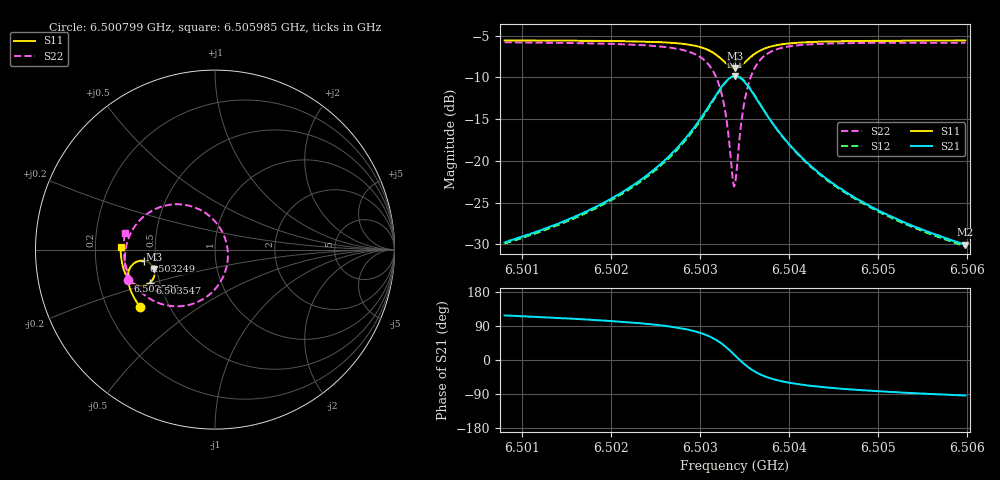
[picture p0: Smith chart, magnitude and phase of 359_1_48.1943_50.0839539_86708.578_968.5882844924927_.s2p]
#  HZ  S  RI  R  50.00
! Rohde & Schwarz Vector Network Analyzer
! Rohde-Schwarz,ZNB20-2Port,1311601062101988,3.16
! Created: UTC 3/20/2024, 11:52:07 AM
! freq[Hz]  re:S11  im:S11  re:S21  im:S21  re:S12  im:S12  re:S22  im:S22
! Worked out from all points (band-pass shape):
!   401 points, 6.500799 GHz to 6.505985 GHz, reference 50 ohm
!   highest |S21| = -9.86 dB at 6.503392 GHz (marker M1); lowest = -30.1 dB at 6.505985 GHz (marker M2)
!   |S21| within 3 dB of the highest: 6.503132 GHz to 6.503651 GHz (518.6 kHz wide, 0.00797 % of centre)
!   lowest |S11| = -8.9 dB at 6.503392 GHz (marker M3), VSWR 2.11, Z = 24.1 - j6.11 ohm
!   |S11| at or under -10 dB: nowhere
!   |S22| runs from -23.1 to -5.8 dB; largest |S21 - S12| = 0.011
!   S11 on the Smith chart (normalised r, x): 6.500799 GHz: 0.34, -0.30; 6.502536 GHz: 0.33, -0.15; 6.503249 GHz: 0.43, -0.06; 6.503547 GHz: 0.44, -0.20; 6.505985 GHz: 0.31, +0.01
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6.5007989e9  -0.4193 -0.3183  -0.015 0.0288  -0.0134 0.0289  -0.4855 -0.1678
6.5016675e9  -0.4578 -0.2554  -0.0145 0.046  -0.0121 0.0457  -0.501 -0.0779
6.5021342e9  -0.4747 -0.2151  -0.012 0.0643  -0.00908 0.0634  -0.4996 -0.0139
6.5025361e9  -0.485 -0.1721  -0.00322 0.0937  0.000313 0.0915  -0.4815 0.0632
6.5027954e9  -0.4848 -0.1353  0.0151 0.1278  0.0189 0.1242  -0.4428 0.1351
6.5029769e9  -0.4736 -0.1021  0.0491 0.1636  0.0523 0.1582  -0.3758 0.2009
6.5031454e9  -0.4395 -0.0692  0.1255 0.1965  0.1267 0.1902  -0.2357 0.2517
6.5032491e9  -0.3976 -0.0621  0.2094 0.1882  0.2097 0.1827  -0.0897 0.2249
6.503301e9  -0.3725 -0.0705  0.2571 0.1608  0.2579 0.1561  -0.0106 0.1688
6.5033658e9  -0.3463 -0.0962  0.3041 0.0987  0.3065 0.0937  0.0602 0.0492
6.5033917e9  -0.3401 -0.1104  0.3142 0.0671  0.3172 0.0613  0.0713 -0.00936
6.5034047e9  -0.3381 -0.1179  0.3168 0.0507  0.32 0.0445  0.0719 -0.0392
6.5034565e9  -0.339 -0.1482  0.3116 -0.0136  0.3143 -0.0223  0.0447 -0.1532
6.5034825e9  -0.344 -0.1617  0.3005 -0.0421  0.3025 -0.0517  0.0157 -0.2012
6.5035473e9  -0.3647 -0.1871  0.2589 -0.0951  0.2576 -0.1061  -0.0781 -0.2823
6.503651e9  -0.4033 -0.2017  0.186 -0.1309  0.1808 -0.14  -0.2244 -0.3161
6.5038195e9  -0.4486 -0.1921  0.1063 -0.1282  0.0994 -0.133  -0.3682 -0.2708
6.504001e9  -0.4756 -0.1707  0.0627 -0.1088  0.0567 -0.111  -0.4389 -0.2073
6.5042603e9  -0.4961 -0.1407  0.0333 -0.0854  0.0287 -0.0858  -0.4815 -0.1363
6.5046881e9  -0.5128 -0.0971  0.0136 -0.061  0.0105 -0.0607  -0.5047 -0.0559
6.5051289e9  -0.5212 -0.057  0.00494 -0.0468  0.00273 -0.0461  -0.5097 0.00372
6.5059845e9  -0.5258 0.015  -0.00212 -0.0314  -0.00343 -0.0306  -0.5014 0.0925
